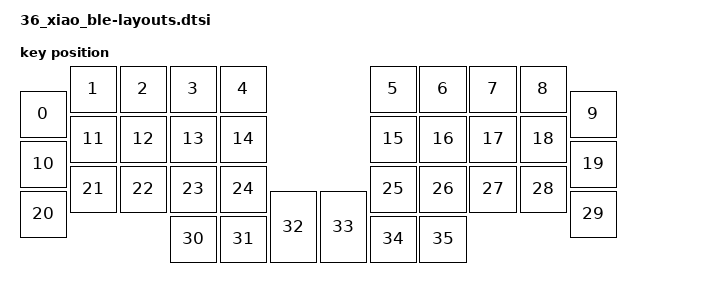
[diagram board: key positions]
#include <physical_layouts.dtsi>

{
#include <physical_layouts.dtsi>

/ {
    physical_layout0: physical_layout_0 {
        compatible = "zmk,physical-layout";
        display-name = "Default";

        kscan = <&kscan0>;
        transform = <&matrix_transform0>;

        keys  //                     w   h    x    y     rot    rx    ry
            = <&key_physical_attrs 100 100    0   50       0     0     0>
            , <&key_physical_attrs 100 100  100    0       0     0     0>
            , <&key_physical_attrs 100 100  200    0       0     0     0>
            , <&key_physical_attrs 100 100  300    0       0     0     0>
            , <&key_physical_attrs 100 100  400    0       0     0     0>
            , <&key_physical_attrs 100 100  700    0       0     0     0>
            , <&key_physical_attrs 100 100  800    0       0     0     0>
            , <&key_physical_attrs 100 100  900    0       0     0     0>
            , <&key_physical_attrs 100 100 1000    0       0     0     0>
            , <&key_physical_attrs 100 100 1100   50       0     0     0>
            , <&key_physical_attrs 100 100    0  150       0     0     0>
            , <&key_physical_attrs 100 100  100  100       0     0     0>
            , <&key_physical_attrs 100 100  200  100       0     0     0>
            , <&key_physical_attrs 100 100  300  100       0     0     0>
            , <&key_physical_attrs 100 100  400  100       0     0     0>
            , <&key_physical_attrs 100 100  700  100       0     0     0>
            , <&key_physical_attrs 100 100  800  100       0     0     0>
            , <&key_physical_attrs 100 100  900  100       0     0     0>
            , <&key_physical_attrs 100 100 1000  100       0     0     0>
            , <&key_physical_attrs 100 100 1100  150       0     0     0>
            , <&key_physical_attrs 100 100    0  250       0     0     0>
            , <&key_physical_attrs 100 100  100  200       0     0     0>
            , <&key_physical_attrs 100 100  200  200       0     0     0>
            , <&key_physical_attrs 100 100  300  200       0     0     0>
            , <&key_physical_attrs 100 100  400  200       0     0     0>
            , <&key_physical_attrs 100 100  700  200       0     0     0>
            , <&key_physical_attrs 100 100  800  200       0     0     0>
            , <&key_physical_attrs 100 100  900  200       0     0     0>
            , <&key_physical_attrs 100 100 1000  200       0     0     0>
            , <&key_physical_attrs 100 100 1100  250       0     0     0>
            , <&key_physical_attrs 100 100  300  300       0     0     0>
            , <&key_physical_attrs 100 100  400  300       0     0     0>
            , <&key_physical_attrs 100 150  500  250       0     0     0>
            , <&key_physical_attrs 100 150  600  250       0     0     0>
            , <&key_physical_attrs 100 100  700  300       0     0     0>
            , <&key_physical_attrs 100 100  800  300       0     0     0>
            ;
    };
};
};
